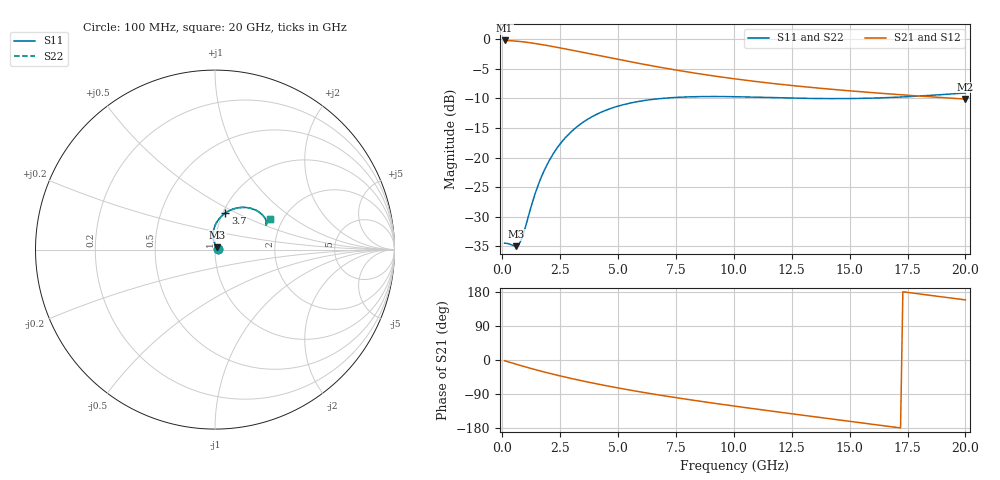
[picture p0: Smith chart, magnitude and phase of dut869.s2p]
! Touchstone file exported from HFSS 2024.1.0
!  File:  C:/UserFiles/LocalFiles/RDL_TSV_Batchsim/temp_RDL_TSV_869_1779927258.aedt
!  Generated:  08:30:00 AM May 28, 2026
!  Design:  RDL_TSV
!  Project:  temp_RDL_TSV_869_1779927258
!  Setup:  Setup1
!  Solution:  Sweep
! Variables:
!  dtsv = 11.1um
!  hbump = 3um
!  htsv = 87.12um
!  ldown = 374.52um
!  lrdl = 371.07um
!  p = 40
!  p1 = 54.39um
!  rhole = 10um
!  subl = 2607.84um
!  t = 450um
!  tdown = 2.84um
!  trdl = 4.36um
!  viad = 10um
!  wdown = 11.88um
!  wrdl = 17.62um
!  xbump = 18um
# GHz S MA R 50.000000
! Terminal data exported
! Port[1] = TM1_1_T1
! Port[2] = TM1_4_T1
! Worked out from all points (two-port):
!   200 points, 100 MHz to 20 GHz, reference 50 ohm
!   highest |S21| = -0.17 dB at 100 MHz (marker M1); lowest = -10.1 dB at 20 GHz (marker M2)
!   |S21| within 3 dB of the highest: start of sweep to 4.739 GHz
!   lowest |S11| = -35.0 dB at 600 MHz (marker M3), VSWR 1.04, Z = 51.3 + j1.22 ohm
!   |S11| at or under -10 dB: start of sweep to 6.866 GHz; 13.47 GHz to 15.24 GHz (1.771 GHz wide, 12.3 % of centre)
!   |S22| runs from -35.0 to -9.1 dB; largest |S21 - S12| = 3.6e-14
!   S11 on the Smith chart (normalised r, x): 100 MHz: 1.04, +0.00; 3.7 GHz: 1.03, +0.44; 20 GHz: 1.72, +0.68
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0.1  0.01879 5.8  0.9807 -1.9  0.9807 -1.9  0.01879 5.8
! Gamma 0 0 0 0
! Port Impedance 50 0 50 0
0.6  0.01774 42.0  0.968 -11.2  0.968 -11.2  0.01774 42.0
0.7  0.01822 53.1  0.964 -13.0  0.964 -13.0  0.01822 53.2
0.8  0.01963 64.6  0.9595 -14.8  0.9595 -14.8  0.01964 64.6
0.9  0.02217 75.0  0.9546 -16.5  0.9546 -16.5  0.02217 75.0
1.3  0.04169 96.3  0.9317 -23.4  0.9317 -23.4  0.04173 96.4
1.5  0.05493 98.8  0.9188 -26.7  0.9188 -26.7  0.05498 98.8
1.7  0.06933 98.8  0.9052 -29.9  0.9052 -29.9  0.0694 98.8
2  0.09207 96.6  0.8841 -34.6  0.8841 -34.6  0.09217 96.6
2.3  0.1152 93.1  0.8625 -39.1  0.8625 -39.1  0.1153 93.1
2.7  0.1454 87.7  0.8335 -44.9  0.8335 -44.9  0.1455 87.8
3.5  0.1998 76.8  0.7764 -55.7  0.7764 -55.7  0.2 76.8
3.7  0.2117 74.2  0.7625 -58.2  0.7625 -58.2  0.2119 74.2
5  0.2724 59.2  0.6783 -73.8  0.6783 -73.8  0.2727 59.3
5.9  0.2988 51.0  0.627 -83.5  0.627 -83.5  0.2992 51.0
6.8  0.3153 44.3  0.5819 -92.6  0.5819 -92.6  0.3157 44.3
8.3  0.3274 35.8  0.5194 -106.7  0.5194 -106.7  0.3278 35.9
10.1  0.3272 29.5  0.4621 -122.3  0.4621 -122.3  0.3276 29.5
11.7  0.3216 26.6  0.4234 -135.5  0.4234 -135.5  0.322 26.7
13.4  0.3164 25.8  0.3913 -149.1  0.3913 -149.1  0.3168 25.8
16.7  0.322 27.8  0.3458 -175.3  0.3458 -175.3  0.3224 27.8
20  0.3521 29.4  0.3125 158.6  0.3125 158.6  0.3525 29.4
